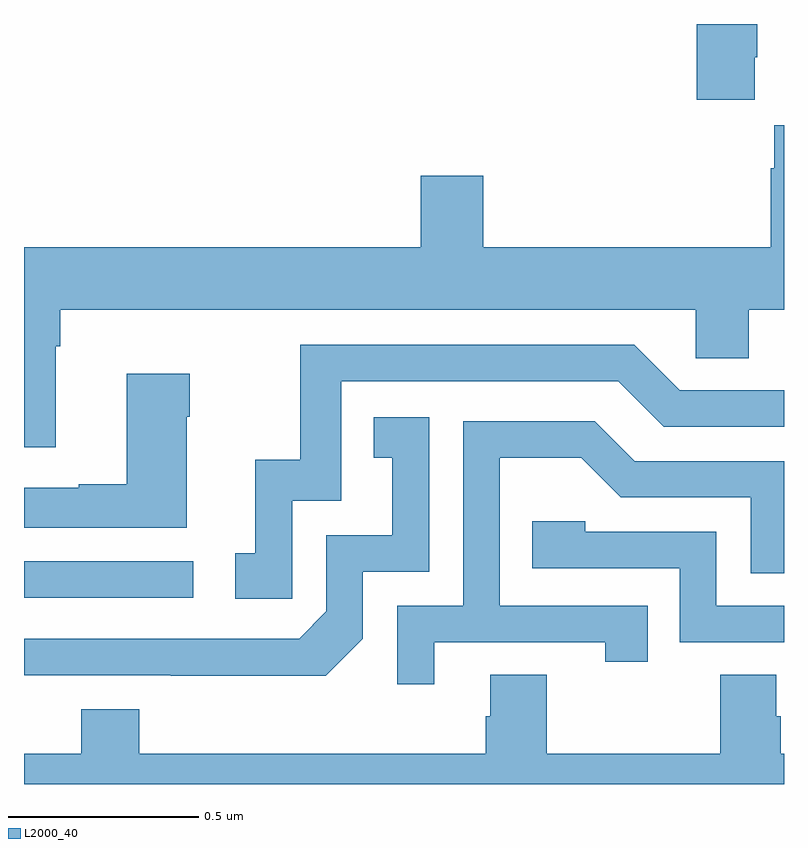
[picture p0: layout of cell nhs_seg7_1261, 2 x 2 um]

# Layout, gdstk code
import gdstk
lib = gdstk.Library(unit=1e-6, precision=1e-09)
def R(c, l, rs):  # rectangles x0, y0, x1, y1
    for r in rs: c.add(gdstk.rectangle(r[:2], r[2:], *l))
def P(c, l, *ps):  # polygons
    for p in ps: c.add(gdstk.Polygon(p, *l))
L2000_40 = (2000, 40)

nhs_seg7_1261 = lib.new_cell('nhs_seg7_1261')
R(nhs_seg7_1261, L2000_40, [(128,1034.49,128.446,1034.586)])
P(nhs_seg7_1261, L2000_40, [(129.923,1035.913),(129.93,1035.913),(129.93,1036),(129.77,1036),(129.77,1035.801),(129.923,1035.801)],
  [(128.083,1035.152),(128.096,1035.152),(128.096,1035.248),(129.768,1035.248),(129.768,1035.121),(129.907,1035.121),(129.907,1035.248),(130,1035.248),(130,1035.733),(129.974,1035.733),(129.974,1035.62),(129.965,1035.62),(129.965,1035.412),(129.208,1035.412),(129.208,1035.601),(129.044,1035.601),(129.044,1035.412),(128,1035.412),(128,1034.886),(128.083,1034.886)],
  [(128.706,1034.745),(128.835,1034.745),(128.835,1035.06),(129.564,1035.06),(129.684,1034.94),(130,1034.94),(130,1035.036),(129.726,1035.036),(129.606,1035.156),(128.727,1035.156),(128.727,1034.853),(128.608,1034.853),(128.608,1034.607),(128.556,1034.607),(128.556,1034.487),(128.706,1034.487)],
  [(128.428,1034.966),(128.436,1034.966),(128.436,1035.079),(128.27,1035.079),(128.27,1034.789),(128.144,1034.789),(128.144,1034.779),(128.001,1034.779),(128.001,1034.675),(128.428,1034.675)],
  [(128.892,1034.382),(128.892,1034.559),(129.066,1034.559),(129.066,1034.965),(128.92,1034.965),(128.92,1034.859),(128.969,1034.859),(128.969,1034.655),(128.796,1034.655),(128.796,1034.454),(128.724,1034.382),(128,1034.382),(128,1034.286),(128.386,1034.286),(128.386,1034.285),(128.794,1034.285)],
  [(129.079,1034.373),(129.53,1034.373),(129.53,1034.322),(129.641,1034.322),(129.641,1034.469),(129.252,1034.469),(129.252,1034.858),(129.466,1034.858),(129.57,1034.754),(129.912,1034.754),(129.912,1034.555),(130,1034.555),(130,1034.85),(129.607,1034.85),(129.502,1034.955),(129.156,1034.955),(129.156,1034.469),(128.982,1034.469),(128.982,1034.262),(129.079,1034.262)],
  [(130,1034.469),(129.822,1034.469),(129.822,1034.664),(129.477,1034.664),(129.477,1034.691),(129.337,1034.691),(129.337,1034.568),(129.726,1034.568),(129.726,1034.373),(130,1034.373)],
  [(130,1034.08),(129.992,1034.08),(129.992,1034.178),(129.979,1034.178),(129.979,1034.288),(129.832,1034.288),(129.832,1034.08),(129.375,1034.08),(129.375,1034.288),(129.227,1034.288),(129.227,1034.178),(129.215,1034.178),(129.215,1034.08),(128.303,1034.08),(128.303,1034.197),(128.15,1034.197),(128.15,1034.08),(128,1034.08),(128,1034),(130,1034)])

lib.write_gds('nhs_seg7_1261.gds')
